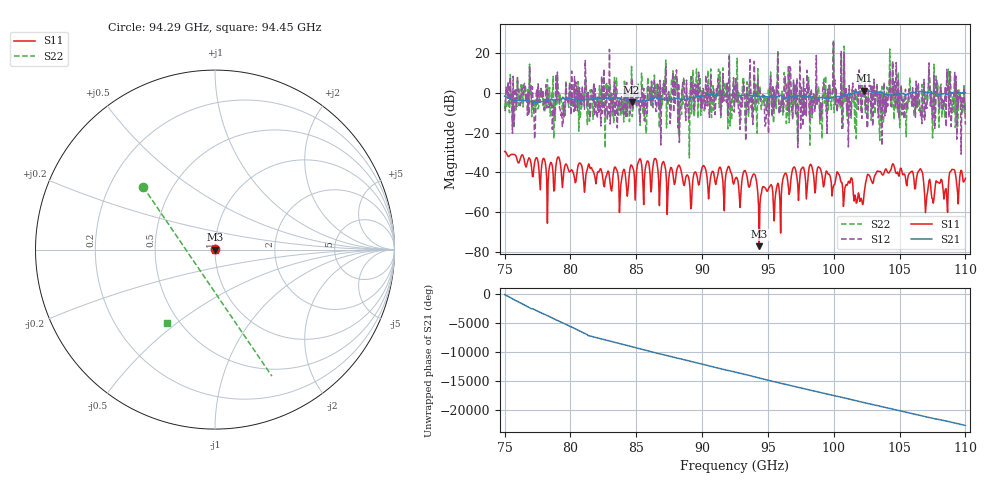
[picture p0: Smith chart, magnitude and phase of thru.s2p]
!Created with skrf (http://scikit-rf.org).
# GHz S RI R 50.0
!freq ReS11 ImS11 ReS21 ImS21 ReS12 ImS12 ReS22 ImS22
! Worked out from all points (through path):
!   647 points, 75 GHz to 110 GHz, reference 50 ohm
!   highest |S21| = 1.10 dB at 102.3 GHz (marker M1); lowest = -4.8 dB at 84.65 GHz (marker M2)
!   lowest |S11| = -77.3 dB at 94.34 GHz (marker M3), VSWR 1.00, Z = 50 - j0.013 ohm
!   |S11| at or under -10 dB: start of sweep to end of sweep
!   |S22| runs from -32.8 to 25.6 dB; largest |S21 - S12| = 22
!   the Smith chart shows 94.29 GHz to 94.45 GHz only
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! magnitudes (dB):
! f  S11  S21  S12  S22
! 75 GHz  -29.5  -1.6  -8.8  -8.1
! 78.25 GHz  -65.7  -4.0  2.4  6.9
! 79.07 GHz  -32.2  -3.5  -0.1  1.3
! 79.39 GHz  -47.7  -2.2  -17.0  -8.3
! 80.85 GHz  -36.5  -3.7  -5.9  -7.3
! 82.86 GHz  -39.4  -2.7  -8.6  4.1
! 83.78 GHz  -52.4  -2.6  -9.0  -2.6
! 84.65 GHz  -36.5  -4.8  5.7  13.4
! 86.7 GHz  -43.9  -3.3  -7.8  -5.1
! 92.5 GHz  -43.7  -1.3  0.1  -2.7
! 93.96 GHz  -41.0  -1.2  15.9  9.1
! 94.34 GHz  -77.3  -1.7  -0.1  -2.2
! 94.88 GHz  -49.1  -2.0  -10.4  -2.6
! 95.64 GHz  -48.5  -2.0  3.5  -7.9
! 98.35 GHz  -37.6  -2.1  -10.5  -12.6
! 99.81 GHz  -45.3  -2.4  -0.9  -8.3
! 102.3 GHz  -50.7  1.1  0.5  0.4
! 103.6 GHz  -40.3  0.2  -11.2  -15.1
! 104.2 GHz  -40.4  -0.9  1.2  0.6
! 106.6 GHz  -38.2  0.7  -11.4  -9.4
! 107 GHz  -55.8  0.3  -6.3  -8.0
! 110 GHz  -43.1  0.2  -16.0  -3.7
